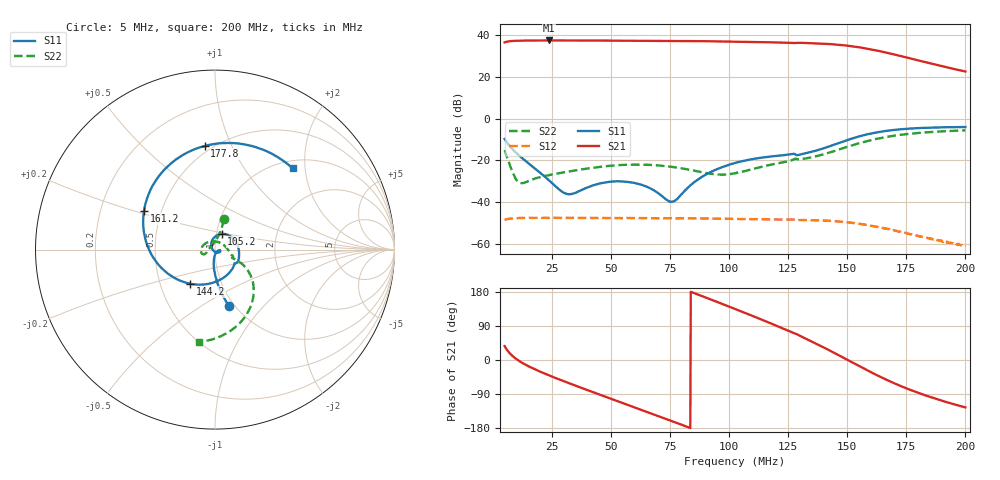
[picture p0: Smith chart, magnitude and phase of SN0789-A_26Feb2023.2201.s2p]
# Hz S DB R 50
! CMT, M5045, 22160017, 22.4.3/2
! Date: 2/26/2023 22:01:22
! Data: Format (Calibration Info)
! Freq	S11:dB/Ang(F2)	S21:dB/Ang(F2)	S12:dB/Ang(F2)	S22:dB/Ang(F2)
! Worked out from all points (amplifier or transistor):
!   1001 points, 5 MHz to 200 MHz, reference 50 ohm
!   highest |S21| = 37.4 dB at 23.72 MHz (marker M1)
!   |S21| within 3 dB of that: start of sweep to 153.5 MHz
!   unconditionally stable (mu >= 1): start of sweep to end of sweep
!   at 37.37 MHz: K = 1.78, MAG = 37.4 dB, |S12| = -47.6 dB
!   at 102.5 MHz: K = 1.95, MAG = 36.8 dB, |S12| = -48.0 dB
!   at 200 MHz: K = 18.89, MAG = 26.0 dB, |S12| = -61.0 dB
!   S11 on the Smith chart (normalised r, x): 5 MHz: 0.95, -0.66; 105.2 MHz: 1.06, +0.19; 144.2 MHz: 0.71, -0.29; 161.2 MHz: 0.40, +0.22; 177.8 MHz: 0.46, +0.80; 200 MHz: 1.15, +1.72
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5000000  -9.79 -75.9  36.45 36.7  -48.55 39.8  -15.07 74.3
7730000  -13.89 -84.7  37.06 14.2  -47.93 17.3  -23.83 79.5
1.124e7  -17.83 -90.8  37.26 -2.9  -47.57 0.0  -30.68 125.6
1.6895e7  -23.09 -96.0  37.35 -21.9  -47.57 -19.0  -29.13 175.3
2.372e7  -29.51 -92.4  37.37 -40.5  -47.57 -37.2  -27.13 -168.3
3.7565e7  -34.25 -14.9  37.32 -73.7  -47.57 -68.4  -24.36 -156.8
5.3165e7  -30.08 -17.9  37.27 -109.2  -47.60 -101.8  -22.32 -163.6
7.013e7  -35.82 -70.0  37.20 -148.0  -47.73 -138.5  -22.47 172.0
7.8125e7  -38.41 -171.8  37.14 -166.6  -47.80 -156.0  -23.52 153.8
8.5925e7  -29.88 131.7  37.06 174.9  -47.78 -173.8  -25.12 129.4
9.3725e7  -24.80 103.8  36.94 156.1  -47.91 168.6  -26.66 94.4
1.025e8  -21.28 76.1  36.77 134.8  -48.03 148.4  -26.21 46.8
1.0523e8  -20.50 67.3  36.72 128.0  -48.16 142.1  -25.55 33.9
1.2044e8  -17.84 10.4  36.41 89.3  -48.34 105.0  -21.48 -11.5
1.2941e8  -17.42 -36.8  36.25 65.5  -48.65 81.3  -19.53 -25.7
1.35065e8  -15.89 -69.5  36.06 48.5  -48.65 65.8  -18.50 -25.9
1.4423e8  -12.60 -125.7  35.52 19.8  -49.04 38.1  -15.66 -27.5
1.51835e8  -9.65 -166.4  34.63 -5.4  -49.86 13.4  -12.93 -33.6
1.61195e8  -6.93 151.4  32.85 -35.9  -51.56 -16.5  -10.02 -46.7
1.6763e8  -5.75 127.2  31.26 -55.1  -52.98 -36.2  -8.61 -57.4
1.7777e8  -4.73 95.7  28.46 -81.4  -55.51 -61.0  -7.15 -73.2
2e8  -4.06 46.3  22.50 -125.1  -60.97 -104.7  -5.66 -99.8
